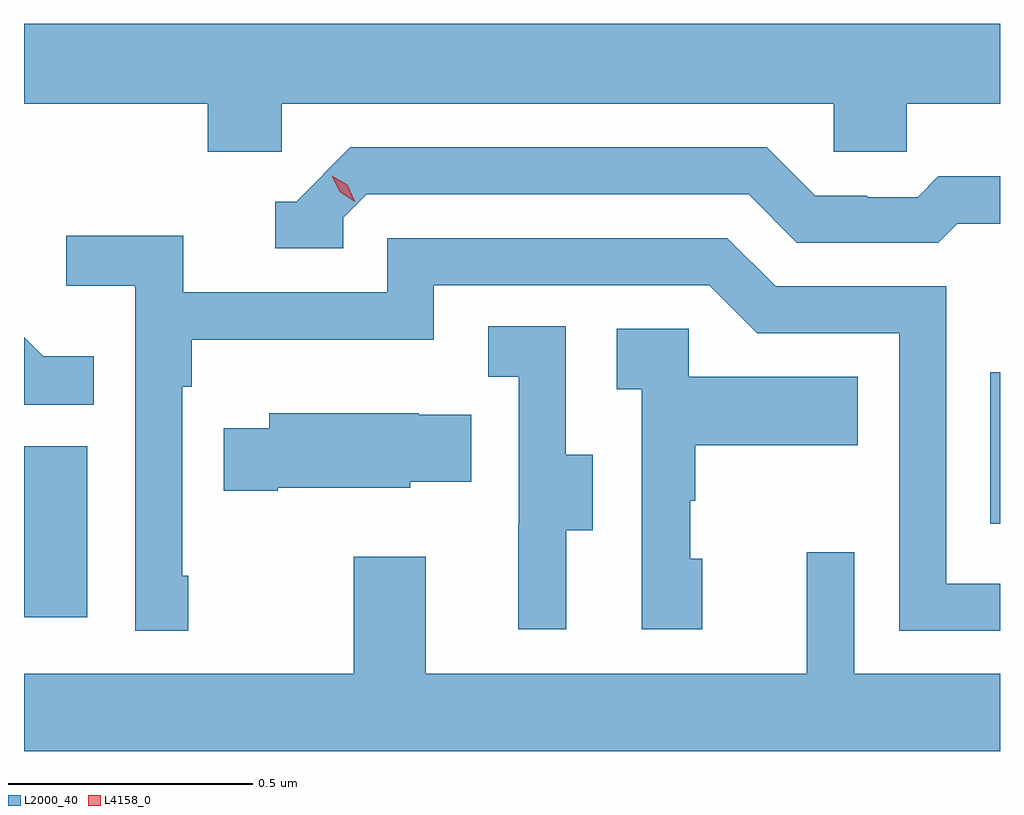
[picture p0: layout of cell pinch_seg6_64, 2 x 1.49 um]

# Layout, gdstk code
import gdstk
lib = gdstk.Library(unit=1e-6, precision=1e-09)
def R(c, l, rs):  # rectangles x0, y0, x1, y1
    for r in rs: c.add(gdstk.rectangle(r[:2], r[2:], *l))
def P(c, l, *ps):  # polygons
    for p in ps: c.add(gdstk.Polygon(p, *l))
L2000_40 = (2000, 40)
L4158_0 = (4158, 0)

pinch_seg6_64 = lib.new_cell('pinch_seg6_64')
R(pinch_seg6_64, L2000_40, [(996.096,942.288,996.226,942.639), (998.076,942.48,998.096,942.79)])
P(pinch_seg6_64, L2000_40, [(996.624,943.34),(997.755,943.34),(997.755,943.242),(997.905,943.242),(997.905,943.34),(998.096,943.34),(998.096,943.504),(996.096,943.504),(996.096,943.34),(996.473,943.34),(996.473,943.242),(996.624,943.242)],
  [(996.75,943.107),(996.798,943.155),(997.581,943.155),(997.68,943.056),(997.969,943.056),(998.008,943.095),(998.096,943.095),(998.096,943.192),(997.969,943.192),(997.927,943.149),(997.824,943.149),(997.824,943.152),(997.717,943.152),(997.618,943.251),(996.765,943.251),(996.654,943.14),(996.611,943.14),(996.611,943.044),(996.75,943.044)],
  [(996.433,942.373),(996.42,942.373),(996.42,942.761),(996.44,942.761),(996.44,942.857),(996.936,942.857),(996.936,942.969),(997.5,942.969),(997.599,942.87),(997.89,942.87),(997.89,942.261),(998.096,942.261),(998.096,942.357),(997.986,942.357),(997.986,942.966),(997.636,942.966),(997.537,943.065),(996.84,943.065),(996.84,942.954),(996.422,942.954),(996.422,943.07),(996.183,943.07),(996.183,942.968),(996.324,942.968),(996.324,942.261),(996.433,942.261)],
  [(997.207,942.466),(997.261,942.466),(997.261,942.621),(997.206,942.621),(997.206,942.884),(997.047,942.884),(997.047,942.781),(997.11,942.781),(997.11,942.477),(997.109,942.477),(997.109,942.264),(997.207,942.264)],
  [(997.486,942.408),(997.461,942.408),(997.461,942.527),(997.471,942.527),(997.471,942.641),(997.805,942.641),(997.805,942.781),(997.458,942.781),(997.458,942.879),(997.311,942.879),(997.311,942.755),(997.362,942.755),(997.362,942.264),(997.486,942.264)],
  [(996.239,942.823),(996.135,942.823),(996.096,942.862),(996.096,942.724),(996.239,942.724)],
  [(996.616,942.554),(996.888,942.554),(996.888,942.566),(997.013,942.566),(997.013,942.703),(996.905,942.703),(996.905,942.706),(996.599,942.706),(996.599,942.676),(996.505,942.676),(996.505,942.547),(996.616,942.547)],
  [(998.096,942.172),(997.797,942.172),(997.797,942.421),(997.7,942.421),(997.7,942.172),(996.919,942.172),(996.919,942.412),(996.772,942.412),(996.772,942.172),(996.096,942.172),(996.096,942.014),(998.096,942.014)])
P(pinch_seg6_64, L4158_0, [(996.773,943.141),(996.743,943.16),(996.727,943.193),(996.727,943.193),(996.727,943.193),(996.758,943.174),(996.774,943.141),(996.774,943.141)])

lib.write_gds('pinch_seg6_64.gds')
